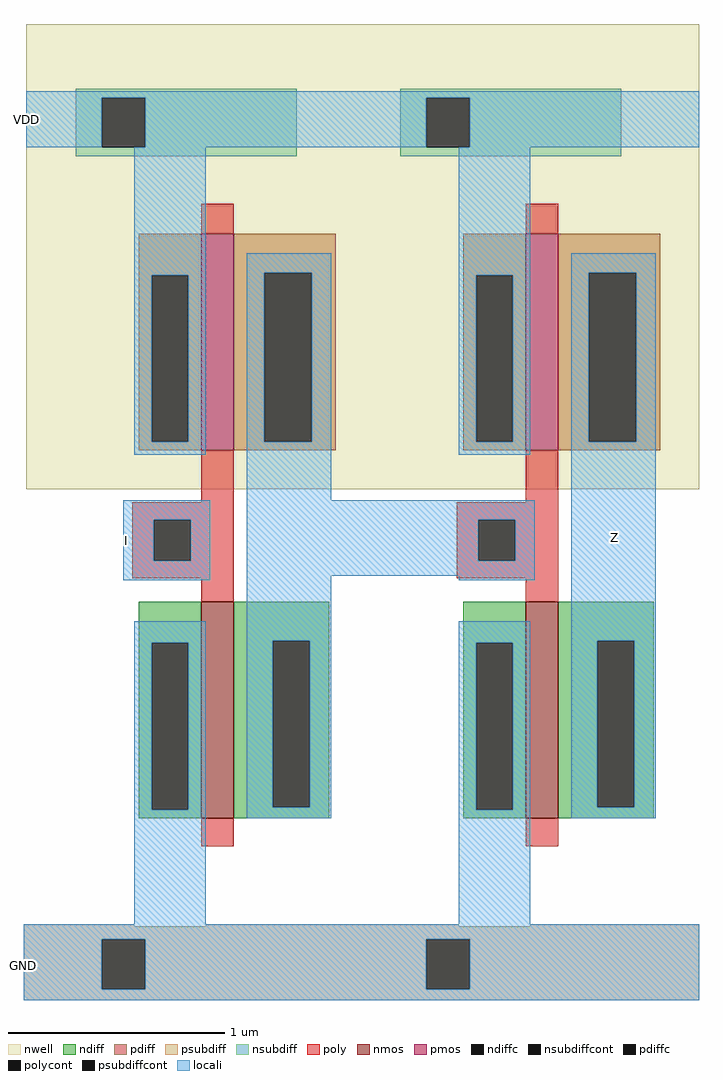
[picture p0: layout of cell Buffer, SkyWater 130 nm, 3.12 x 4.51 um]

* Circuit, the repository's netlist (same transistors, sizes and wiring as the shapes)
* NGSPICE file created from Buffer.ext - technology: sky130A

.subckt Buffer VDD GND I Z
X0 Z a_16_n12# VDD VDD sky130_fd_pr__pfet_01v8 ad=0.47 pd=2.94 as=0.29 ps=2.58 w=1 l=0.15
**devattr s=2900,258 d=4700,294
X1 a_16_n12# I VDD VDD sky130_fd_pr__pfet_01v8 ad=0.47 pd=2.94 as=0.29 ps=2.58 w=1 l=0.15
**devattr s=2900,258 d=4700,294
X2 Z a_16_n12# GND GND sky130_fd_pr__nfet_01v8 ad=0.44 pd=2.88 as=0.29 ps=2.58 w=1 l=0.15
**devattr s=2900,258 d=4400,288
X3 a_16_n12# I GND GND sky130_fd_pr__nfet_01v8 ad=0.44 pd=2.88 as=0.29 ps=2.58 w=1 l=0.15
**devattr s=2900,258 d=4400,288
.ends

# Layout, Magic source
magic
tech sky130A
<< nwell >>
rect -80 140 231 355
<< nmos >>
rect 1 -12 16 88
rect 151 -12 166 88
<< pmos >>
rect 1 158 16 258
rect 151 158 166 258
<< ndiff >>
rect -28 69 1 88
rect -28 -8 -22 69
rect -5 -8 1 69
rect -28 -12 1 -8
rect 16 70 60 88
rect 16 -7 34 70
rect 51 -7 60 70
rect 16 -12 60 -7
rect 122 69 151 88
rect 122 -8 128 69
rect 145 -8 151 69
rect 122 -12 151 -8
rect 166 70 210 88
rect 166 -7 184 70
rect 201 -7 210 70
rect 166 -12 210 -7
<< pdiff >>
rect -28 239 1 258
rect -28 162 -22 239
rect -5 162 1 239
rect -28 158 1 162
rect 16 240 63 258
rect 16 162 30 240
rect 52 162 63 240
rect 16 158 63 162
rect 122 239 151 258
rect 122 162 128 239
rect 145 162 151 239
rect 122 158 151 162
rect 166 240 213 258
rect 166 162 180 240
rect 202 162 213 240
rect 166 158 213 162
<< ndiffc >>
rect -22 -8 -5 69
rect 34 -7 51 70
rect 128 -8 145 69
rect 184 -7 201 70
<< pdiffc >>
rect -22 162 -5 239
rect 30 162 52 240
rect 128 162 145 239
rect 180 162 202 240
<< psubdiff >>
rect -81 -62 -30 -61
rect 3 -62 120 -61
rect 153 -62 231 -61
rect -81 -68 231 -62
rect -81 -91 -45 -68
rect -25 -91 105 -68
rect 125 -91 231 -68
rect -81 -96 231 -91
<< nsubdiff >>
rect -57 321 45 325
rect -57 298 -45 321
rect -25 298 45 321
rect -57 294 45 298
rect 93 321 195 325
rect 93 298 105 321
rect 125 298 195 321
rect 93 294 195 298
<< psubdiffcont >>
rect -45 -91 -25 -68
rect 105 -91 125 -68
<< nsubdiffcont >>
rect -45 298 -25 321
rect 105 298 125 321
<< poly >>
rect 1 258 16 272
rect 151 258 166 272
rect 1 134 16 158
rect 151 134 166 158
rect -31 126 16 134
rect -31 107 -21 126
rect -4 107 16 126
rect -31 99 16 107
rect 119 126 166 134
rect 119 107 129 126
rect 146 107 166 126
rect 119 99 166 107
rect 1 88 16 99
rect 151 88 166 99
rect 1 -25 16 -12
rect 151 -25 166 -12
<< polycont >>
rect -21 107 -4 126
rect 129 107 146 126
<< locali >>
rect -80 321 231 324
rect -80 298 -45 321
rect -25 298 105 321
rect 125 298 231 321
rect -30 239 3 298
rect -30 162 -22 239
rect -5 162 3 239
rect -30 156 3 162
rect 22 240 61 249
rect 22 162 30 240
rect 52 162 61 240
rect 22 135 61 162
rect 120 239 153 298
rect 120 162 128 239
rect 145 162 153 239
rect 120 156 153 162
rect 172 240 211 249
rect 172 162 180 240
rect 202 162 211 240
rect -35 126 5 135
rect -35 107 -21 126
rect -4 107 5 126
rect -35 98 5 107
rect 22 126 155 135
rect 22 107 129 126
rect 146 107 155 126
rect 22 100 155 107
rect -30 69 3 79
rect -30 -8 -22 69
rect -5 -8 3 69
rect -30 -61 3 -8
rect 22 70 61 100
rect 120 98 155 100
rect 22 -7 34 70
rect 51 -7 61 70
rect 22 -12 61 -7
rect 120 69 153 79
rect 120 -8 128 69
rect 145 -8 153 69
rect 120 -61 153 -8
rect 172 70 211 162
rect 172 -7 184 70
rect 201 -7 211 70
rect 172 -12 211 -7
rect -81 -68 231 -61
rect -81 -91 -45 -68
rect -25 -91 105 -68
rect 125 -91 231 -68
rect -81 -96 231 -91
<< labels >>
rlabel locali -80 311 -80 311 3 VDD
port 1 e
rlabel locali -81 -80 -81 -80 3 GND
port 2 e
rlabel locali -35 98 -32 135 1 I
port 3 n
rlabel locali 181 111 203 124 1 Z
port 4 n
<< end >>
